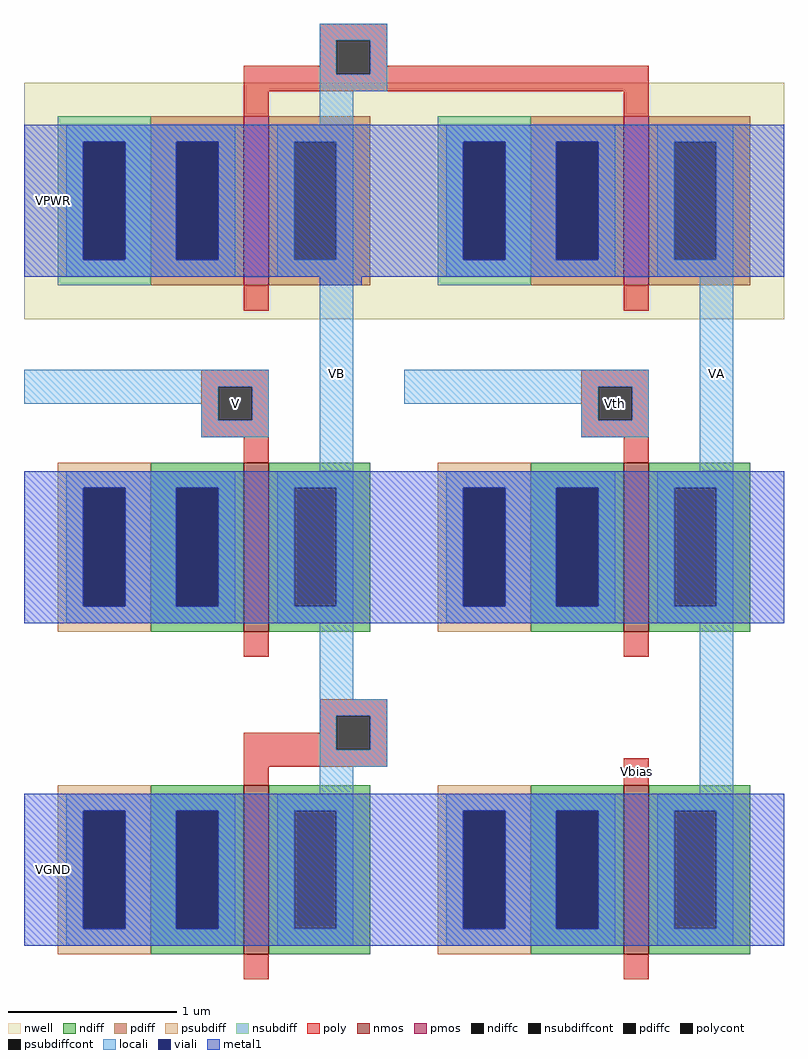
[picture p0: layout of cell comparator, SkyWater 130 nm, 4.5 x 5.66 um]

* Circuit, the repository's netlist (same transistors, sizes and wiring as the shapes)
* NGSPICE file created from comparator.ext - technology: sky130A

.subckt comparator VB VA V Vth Vbias VPWR VGND
X0 VB VB VGND VGND sky130_fd_pr__nfet_01v8 ad=1.2e+12p pd=6.4e+06u as=2.2e+12p ps=1.24e+07u w=1e+06u l=150000u
X1 VA Vth VGND VGND sky130_fd_pr__nfet_01v8 ad=1.2e+12p pd=6.4e+06u as=0p ps=0u w=1e+06u l=150000u
X2 VA VB VPWR VPWR sky130_fd_pr__pfet_01v8 ad=6e+11p pd=3.2e+06u as=1.1e+12p ps=6.2e+06u w=1e+06u l=150000u
X3 VB V VGND VGND sky130_fd_pr__nfet_01v8 ad=0p pd=0u as=0p ps=0u w=1e+06u l=150000u
X4 VB VB VPWR VPWR sky130_fd_pr__pfet_01v8 ad=6e+11p pd=3.2e+06u as=0p ps=0u w=1e+06u l=150000u
X5 VA Vbias VGND VGND sky130_fd_pr__nfet_01v8 ad=0p pd=0u as=0p ps=0u w=1e+06u l=150000u
.ends

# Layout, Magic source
magic
tech sky130A
<< nwell >>
rect -130 145 320 285
<< nmos >>
rect 0 -40 15 60
rect 225 -40 240 60
rect 0 -231 15 -131
rect 225 -231 240 -131
<< pmos >>
rect 0 165 15 265
rect 225 165 240 265
<< ndiff >>
rect -55 45 0 60
rect -55 -25 -40 45
rect -15 -25 0 45
rect -55 -40 0 -25
rect 15 45 75 60
rect 15 -25 30 45
rect 55 -25 75 45
rect 15 -40 75 -25
rect 170 45 225 60
rect 170 -25 185 45
rect 210 -25 225 45
rect 170 -40 225 -25
rect 240 45 300 60
rect 240 -25 255 45
rect 280 -25 300 45
rect 240 -40 300 -25
rect -55 -146 0 -131
rect -55 -216 -40 -146
rect -15 -216 0 -146
rect -55 -231 0 -216
rect 15 -146 75 -131
rect 15 -216 30 -146
rect 55 -216 75 -146
rect 15 -231 75 -216
rect 170 -146 225 -131
rect 170 -216 185 -146
rect 210 -216 225 -146
rect 170 -231 225 -216
rect 240 -146 300 -131
rect 240 -216 255 -146
rect 280 -216 300 -146
rect 240 -231 300 -216
<< pdiff >>
rect -55 250 0 265
rect -55 180 -40 250
rect -15 180 0 250
rect -55 165 0 180
rect 15 250 75 265
rect 15 180 30 250
rect 55 180 75 250
rect 15 165 75 180
rect 170 250 225 265
rect 170 180 185 250
rect 210 180 225 250
rect 170 165 225 180
rect 240 250 300 265
rect 240 180 255 250
rect 280 180 300 250
rect 240 165 300 180
<< ndiffc >>
rect -40 -25 -15 45
rect 30 -25 55 45
rect 185 -25 210 45
rect 255 -25 280 45
rect -40 -216 -15 -146
rect 30 -216 55 -146
rect 185 -216 210 -146
rect 255 -216 280 -146
<< pdiffc >>
rect -40 180 -15 250
rect 30 180 55 250
rect 185 180 210 250
rect 255 180 280 250
<< psubdiff >>
rect -110 45 -55 60
rect -110 -25 -95 45
rect -70 -25 -55 45
rect -110 -40 -55 -25
rect 115 45 170 60
rect 115 -25 130 45
rect 155 -25 170 45
rect 115 -40 170 -25
rect -110 -146 -55 -131
rect -110 -216 -95 -146
rect -70 -216 -55 -146
rect -110 -231 -55 -216
rect 115 -146 170 -131
rect 115 -216 130 -146
rect 155 -216 170 -146
rect 115 -231 170 -216
<< nsubdiff >>
rect -110 250 -55 265
rect -110 180 -95 250
rect -70 180 -55 250
rect -110 165 -55 180
rect 115 250 170 265
rect 115 180 130 250
rect 155 180 170 250
rect 115 165 170 180
<< psubdiffcont >>
rect -95 -25 -70 45
rect 130 -25 155 45
rect -95 -216 -70 -146
rect 130 -216 155 -146
<< nsubdiffcont >>
rect -95 180 -70 250
rect 130 180 155 250
<< poly >>
rect 45 310 85 320
rect 45 295 55 310
rect 0 290 55 295
rect 75 295 85 310
rect 75 290 240 295
rect 0 280 240 290
rect 0 265 15 280
rect 225 265 240 280
rect 0 150 15 165
rect 225 150 240 165
rect -25 105 15 115
rect -25 85 -15 105
rect 5 85 15 105
rect -25 75 15 85
rect 200 105 240 115
rect 200 85 210 105
rect 230 85 240 105
rect 200 75 240 85
rect 0 60 15 75
rect 225 60 240 75
rect 0 -55 15 -40
rect 225 -55 240 -40
rect 45 -90 85 -80
rect 45 -100 55 -90
rect 0 -110 55 -100
rect 75 -110 85 -90
rect 0 -120 85 -110
rect 0 -131 15 -120
rect 225 -131 240 -115
rect 0 -246 15 -231
rect 225 -246 240 -231
<< polycont >>
rect 55 290 75 310
rect -15 85 5 105
rect 210 85 230 105
rect 55 -110 75 -90
<< locali >>
rect 45 310 85 320
rect 45 290 55 310
rect 75 290 85 310
rect 45 280 85 290
rect 45 260 65 280
rect -105 250 -5 260
rect -105 180 -95 250
rect -70 180 -40 250
rect -15 180 -5 250
rect -105 170 -5 180
rect 20 250 65 260
rect 20 180 30 250
rect 55 180 65 250
rect 20 170 65 180
rect 120 250 220 260
rect 120 180 130 250
rect 155 180 185 250
rect 210 180 220 250
rect 120 170 220 180
rect 245 250 290 260
rect 245 180 255 250
rect 280 180 290 250
rect 245 170 290 180
rect -130 105 15 115
rect -130 95 -15 105
rect -25 85 -15 95
rect 5 85 15 105
rect -25 75 15 85
rect 45 55 65 170
rect 95 105 240 115
rect 95 95 210 105
rect 200 85 210 95
rect 230 85 240 105
rect 200 75 240 85
rect 270 55 290 170
rect -105 45 -5 55
rect -105 -25 -95 45
rect -70 -25 -40 45
rect -15 -25 -5 45
rect -105 -35 -5 -25
rect 20 45 65 55
rect 20 -25 30 45
rect 55 -25 65 45
rect 20 -35 65 -25
rect 120 45 220 55
rect 120 -25 130 45
rect 155 -25 185 45
rect 210 -25 220 45
rect 120 -35 220 -25
rect 245 45 290 55
rect 245 -25 255 45
rect 280 -25 290 45
rect 245 -35 290 -25
rect 45 -80 65 -35
rect 45 -90 85 -80
rect 45 -110 55 -90
rect 75 -110 85 -90
rect 45 -120 85 -110
rect 45 -136 65 -120
rect 270 -136 290 -35
rect -105 -146 -5 -136
rect -105 -216 -95 -146
rect -70 -216 -40 -146
rect -15 -216 -5 -146
rect -105 -226 -5 -216
rect 20 -146 65 -136
rect 20 -216 30 -146
rect 55 -216 65 -146
rect 20 -226 65 -216
rect 120 -146 220 -136
rect 120 -216 130 -146
rect 155 -216 185 -146
rect 210 -216 220 -146
rect 120 -226 220 -216
rect 245 -146 290 -136
rect 245 -216 255 -146
rect 280 -216 290 -146
rect 245 -226 290 -216
<< viali >>
rect -95 180 -70 250
rect -40 180 -15 250
rect 130 180 155 250
rect 185 180 210 250
rect -95 -25 -70 45
rect -40 -25 -15 45
rect 130 -25 155 45
rect 185 -25 210 45
rect -95 -216 -70 -146
rect -40 -216 -15 -146
rect 130 -216 155 -146
rect 185 -216 210 -146
<< metal1 >>
rect -130 250 320 260
rect -130 180 -95 250
rect -70 180 -40 250
rect -15 180 130 250
rect 155 180 185 250
rect 210 180 320 250
rect -130 170 320 180
rect 45 165 70 170
rect -130 45 320 55
rect -130 -25 -95 45
rect -70 -25 -40 45
rect -15 -25 130 45
rect 155 -25 185 45
rect 210 -25 320 45
rect -130 -35 320 -25
rect -130 -146 320 -136
rect -130 -216 -95 -146
rect -70 -216 -40 -146
rect -15 -216 130 -146
rect 155 -216 185 -146
rect 210 -216 320 -146
rect -130 -226 320 -216
<< labels >>
rlabel metal1 -130 170 -95 260 1 VPWR
port 5 n
rlabel metal1 -130 -226 -95 -136 1 VGND
port 6 n
rlabel polycont -15 85 5 105 1 V
port 3 n
rlabel polycont 210 85 230 105 1 Vth
port 4 n
rlabel locali 45 45 65 180 1 VB
port 1 n
rlabel locali 270 45 290 180 1 VA
port 2 n
rlabel poly 225 -131 240 -115 1 Vbias
port 7 n
<< end >>
